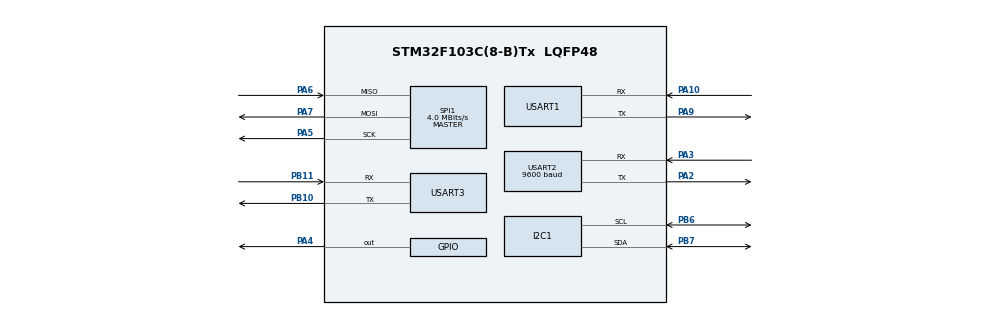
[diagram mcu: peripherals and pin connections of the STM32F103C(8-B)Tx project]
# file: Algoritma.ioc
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Mcu.Family=STM32F1
Mcu.Name=STM32F103C(8-B)Tx
Mcu.Package=LQFP48
NVIC.I2C1_EV_IRQn=true\:0\:0\:false\:false\:true\:true\:true\:true
NVIC.PriorityGroup=NVIC_PRIORITYGROUP_4
NVIC.SPI1_IRQn=true\:0\:0\:false\:false\:true\:true\:true\:true
PA10.Mode=Asynchronous
PA10.Signal=USART1_RX
PA2.Mode=Asynchronous
PA2.Signal=USART2_TX
PA3.Mode=Asynchronous
PA3.Signal=USART2_RX
PA4.Signal=GPIO_Output
PA5.Mode=Full_Duplex_Master
PA5.Signal=SPI1_SCK
PA6.Mode=Full_Duplex_Master
PA6.Signal=SPI1_MISO
PA7.Mode=Full_Duplex_Master
PA7.Signal=SPI1_MOSI
PA9.Mode=Asynchronous
PA9.Signal=USART1_TX
PB10.Mode=Asynchronous
PB10.Signal=USART3_TX
PB11.Mode=Asynchronous
PB11.Signal=USART3_RX
PB6.Mode=I2C
PB6.Signal=I2C1_SCL
PB7.Mode=I2C
PB7.Signal=I2C1_SDA
ProjectManager.HeapSize=0x200
ProjectManager.StackSize=0x400
ProjectManager.TargetToolchain=STM32CubeIDE
RCC.APB1Freq_Value=8000000
RCC.APB2Freq_Value=8000000
SPI1.CalculateBaudRate=4.0 MBits/s
SPI1.Direction=SPI_DIRECTION_2LINES
SPI1.Mode=SPI_MODE_MASTER
SPI1.VirtualType=VM_MASTER
USART1.VirtualMode=VM_ASYNC
USART2.BaudRate=9600
USART2.VirtualMode=VM_ASYNC
USART3.VirtualMode=VM_ASYNC
VP_SYS_VS_ND.Mode=No_Debug
board=custom

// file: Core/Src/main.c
/* USER CODE BEGIN Header */
/**
  ******************************************************************************
  * @file           : main.c
  * @brief          : Main program body
  ******************************************************************************
  * @attention
  *
  * Copyright (c) 2025 STMicroelectronics.
  * All rights reserved.
  *
  * This software is licensed under terms that can be found in the LICENSE file
  * in the root directory of this software component.
  * If no LICENSE file comes with this software, it is provided AS-IS.
  *
  ******************************************************************************
  */
/* USER CODE END Header */
#include "main.h"

/* USER CODE BEGIN Includes */
#include "math.h"
#include "BME280_STM32.h"
extern int32_t tRaw, pRaw, hRaw;
#include <stdio.h>
#include <string.h>
/* USER CODE END Includes */

I2C_HandleTypeDef hi2c1;

SPI_HandleTypeDef hspi1;

UART_HandleTypeDef huart1;
UART_HandleTypeDef huart2;
UART_HandleTypeDef huart3;

void SystemClock_Config(void);
static void MX_GPIO_Init(void);
static void MX_I2C1_Init(void);
static void MX_SPI1_Init(void);
static void MX_USART1_UART_Init(void);
static void MX_USART2_UART_Init(void);
static void MX_USART3_UART_Init(void);
/* USER CODE BEGIN PFP */
void mpu9250_veri(uint8_t reg, uint8_t *data, uint8_t data_length);
/* USER CODE END PFP */

/* USER CODE BEGIN 0 */
float Temperature, Pressure, altitude;
/* USER CODE END 0 */

int main(void)
{

  /* MCU Configuration--------------------------------------------------------*/

  /* Reset of all peripherals, Initializes the Flash interface and the Systick. */
  HAL_Init();

  /* Configure the system clock */
  SystemClock_Config();

  /* Initialize all configured peripherals */
  MX_GPIO_Init();
  MX_I2C1_Init();
  MX_SPI1_Init();
  MX_USART1_UART_Init();
  MX_USART2_UART_Init();
  MX_USART3_UART_Init();
  /* USER CODE BEGIN 2 */
  BME280_Config(OSRS_2, OSRS_2, OSRS_1, MODE_NORMAL, T_SB_0p5, IIR_16);

  int16_t accel_data_x;
  int16_t accel_data_y;
  int16_t accel_data_z;
  int16_t gyro_data_x;
  int16_t gyro_data_y;
  int16_t gyro_data_z;
  uint8_t imu_data[14];
  uint8_t imu_data_2[14];
  /* USER CODE END 2 */

  /* Infinite loop */
  /* USER CODE BEGIN WHILE */
  while (1)
  {

		BME280_Measure();
		altitude = 44330 * (1- pow((Pressure/101325), (1/5.225)));
		HAL_Delay (500);

		static float previous_altitude = 0;  // İlk başta 0, bir kez ayarlanacak

		mpu9250_veri(59, imu_data, sizeof(imu_data));
		accel_data_x = ((int16_t)imu_data[0]<<8) + imu_data[1]; //shift 8 bits ve bir sonraki byte'ı ekle
		accel_data_y = ((int16_t)imu_data[2]<<8) + imu_data[3]; // y axis
		accel_data_z = ((int16_t)imu_data[4]<<8) + imu_data[5]; // z axis

		mpu9250_veri(67, imu_data_2, sizeof(imu_data_2));
		gyro_data_x = ((int16_t)imu_data_2[0]<<8) + imu_data_2[1]; //shift 8 bits ve bir sonraki byte'ı ekle
		gyro_data_y = ((int16_t)imu_data_2[2]<<8) + imu_data_2[3]; // y axis
		gyro_data_z = ((int16_t)imu_data_2[4]<<8) + imu_data_2[5]; // z axis

			char buffer[100];
			uint16_t len;

			uint8_t hedef_adres_h = 0x00;
			uint8_t hedef_adres_l = 0x02;
			uint8_t kanal = 0x17;

			len = sprintf(buffer, "x: %d, y: %d, z: %d\r\n", accel_data_x, accel_data_y , accel_data_z);

		        uint8_t paket[3 + len];
		        paket[0] = hedef_adres_h;
		        paket[1] = hedef_adres_l;
		        paket[2] = kanal;
		        memcpy(&paket[3], buffer, len);

		        HAL_UART_Transmit(&huart3, paket, 3 + len , HAL_MAX_DELAY);

		}
  }
    /* USER CODE END WHILE */

void SystemClock_Config(void)
{
  RCC_OscInitTypeDef RCC_OscInitStruct = {0};
  RCC_ClkInitTypeDef RCC_ClkInitStruct = {0};

  /** Initializes the RCC Oscillators according to the specified parameters
  * in the RCC_OscInitTypeDef structure.
  */
  RCC_OscInitStruct.OscillatorType = RCC_OSCILLATORTYPE_HSI;
  RCC_OscInitStruct.HSIState = RCC_HSI_ON;
  RCC_OscInitStruct.HSICalibrationValue = RCC_HSICALIBRATION_DEFAULT;
  RCC_OscInitStruct.PLL.PLLState = RCC_PLL_NONE;
  if (HAL_RCC_OscConfig(&RCC_OscInitStruct) != HAL_OK)
  {
    Error_Handler();
  }

  /** Initializes the CPU, AHB and APB buses clocks
  */
  RCC_ClkInitStruct.ClockType = RCC_CLOCKTYPE_HCLK|RCC_CLOCKTYPE_SYSCLK
                              |RCC_CLOCKTYPE_PCLK1|RCC_CLOCKTYPE_PCLK2;
  RCC_ClkInitStruct.SYSCLKSource = RCC_SYSCLKSOURCE_HSI;
  RCC_ClkInitStruct.AHBCLKDivider = RCC_SYSCLK_DIV1;
  RCC_ClkInitStruct.APB1CLKDivider = RCC_HCLK_DIV1;
  RCC_ClkInitStruct.APB2CLKDivider = RCC_HCLK_DIV1;

  if (HAL_RCC_ClockConfig(&RCC_ClkInitStruct, FLASH_LATENCY_0) != HAL_OK)
  {
    Error_Handler();
  }
}

static void MX_I2C1_Init(void)
{

  hi2c1.Instance = I2C1;
  hi2c1.Init.ClockSpeed = 100000;
  hi2c1.Init.DutyCycle = I2C_DUTYCYCLE_2;
  hi2c1.Init.OwnAddress1 = 0;
  hi2c1.Init.AddressingMode = I2C_ADDRESSINGMODE_7BIT;
  hi2c1.Init.DualAddressMode = I2C_DUALADDRESS_DISABLE;
  hi2c1.Init.OwnAddress2 = 0;
  hi2c1.Init.GeneralCallMode = I2C_GENERALCALL_DISABLE;
  hi2c1.Init.NoStretchMode = I2C_NOSTRETCH_DISABLE;
  if (HAL_I2C_Init(&hi2c1) != HAL_OK)
  {
    Error_Handler();
  }

}

static void MX_SPI1_Init(void)
{

  /* SPI1 parameter configuration*/
  hspi1.Instance = SPI1;
  hspi1.Init.Mode = SPI_MODE_MASTER;
  hspi1.Init.Direction = SPI_DIRECTION_2LINES;
  hspi1.Init.DataSize = SPI_DATASIZE_8BIT;
  hspi1.Init.CLKPolarity = SPI_POLARITY_LOW;
  hspi1.Init.CLKPhase = SPI_PHASE_1EDGE;
  hspi1.Init.NSS = SPI_NSS_SOFT;
  hspi1.Init.BaudRatePrescaler = SPI_BAUDRATEPRESCALER_2;
  hspi1.Init.FirstBit = SPI_FIRSTBIT_MSB;
  hspi1.Init.TIMode = SPI_TIMODE_DISABLE;
  hspi1.Init.CRCCalculation = SPI_CRCCALCULATION_DISABLE;
  hspi1.Init.CRCPolynomial = 10;
  if (HAL_SPI_Init(&hspi1) != HAL_OK)
  {
    Error_Handler();
  }

}

static void MX_USART1_UART_Init(void)
{

  huart1.Instance = USART1;
  huart1.Init.BaudRate = 115200;
  huart1.Init.WordLength = UART_WORDLENGTH_8B;
  huart1.Init.StopBits = UART_STOPBITS_1;
  huart1.Init.Parity = UART_PARITY_NONE;
  huart1.Init.Mode = UART_MODE_TX_RX;
  huart1.Init.HwFlowCtl = UART_HWCONTROL_NONE;
  huart1.Init.OverSampling = UART_OVERSAMPLING_16;
  if (HAL_UART_Init(&huart1) != HAL_OK)
  {
    Error_Handler();
  }

}

static void MX_USART2_UART_Init(void)
{

  huart2.Instance = USART2;
  huart2.Init.BaudRate = 9600;
  huart2.Init.WordLength = UART_WORDLENGTH_8B;
  huart2.Init.StopBits = UART_STOPBITS_1;
  huart2.Init.Parity = UART_PARITY_NONE;
  huart2.Init.Mode = UART_MODE_TX_RX;
  huart2.Init.HwFlowCtl = UART_HWCONTROL_NONE;
  huart2.Init.OverSampling = UART_OVERSAMPLING_16;
  if (HAL_UART_Init(&huart2) != HAL_OK)
  {
    Error_Handler();
  }

}

static void MX_USART3_UART_Init(void)
{

  huart3.Instance = USART3;
  huart3.Init.BaudRate = 115200;
  huart3.Init.WordLength = UART_WORDLENGTH_8B;
  huart3.Init.StopBits = UART_STOPBITS_1;
  huart3.Init.Parity = UART_PARITY_NONE;
  huart3.Init.Mode = UART_MODE_TX_RX;
  huart3.Init.HwFlowCtl = UART_HWCONTROL_NONE;
  huart3.Init.OverSampling = UART_OVERSAMPLING_16;
  if (HAL_UART_Init(&huart3) != HAL_OK)
  {
    Error_Handler();
  }

}

static void MX_GPIO_Init(void)
{
  GPIO_InitTypeDef GPIO_InitStruct = {0};

  /* GPIO Ports Clock Enable */
  __HAL_RCC_GPIOA_CLK_ENABLE();
  __HAL_RCC_GPIOB_CLK_ENABLE();

  /*Configure GPIO pin Output Level */
  HAL_GPIO_WritePin(GPIOA, GPIO_PIN_4, GPIO_PIN_RESET);

  /*Configure GPIO pin : PA4 */
  GPIO_InitStruct.Pin = GPIO_PIN_4;
  GPIO_InitStruct.Mode = GPIO_MODE_OUTPUT_PP;
  GPIO_InitStruct.Pull = GPIO_NOPULL;
  GPIO_InitStruct.Speed = GPIO_SPEED_FREQ_LOW;
  HAL_GPIO_Init(GPIOA, &GPIO_InitStruct);

}

/* USER CODE BEGIN 4 */
void mpu9250_veri(uint8_t reg, uint8_t *data, uint8_t data_length){
	uint8_t tx_buffer[1];
	tx_buffer[0] = 0x80 | reg;  // Okuma ve adres

	HAL_GPIO_WritePin(SPI_CS_GPIO_Port, SPI_CS_Pin, GPIO_PIN_RESET);

	HAL_SPI_Transmit(&hspi1, tx_buffer, 1, 100);               // İlk olarak register adresini gönder
	HAL_SPI_Receive(&hspi1, data, data_length, 100);           // Ardından veri oku

	HAL_GPIO_WritePin(SPI_CS_GPIO_Port, SPI_CS_Pin, GPIO_PIN_SET);
}
/* USER CODE END 4 */

void Error_Handler(void)
{
  __disable_irq();
  while (1)
  {
  }
}
